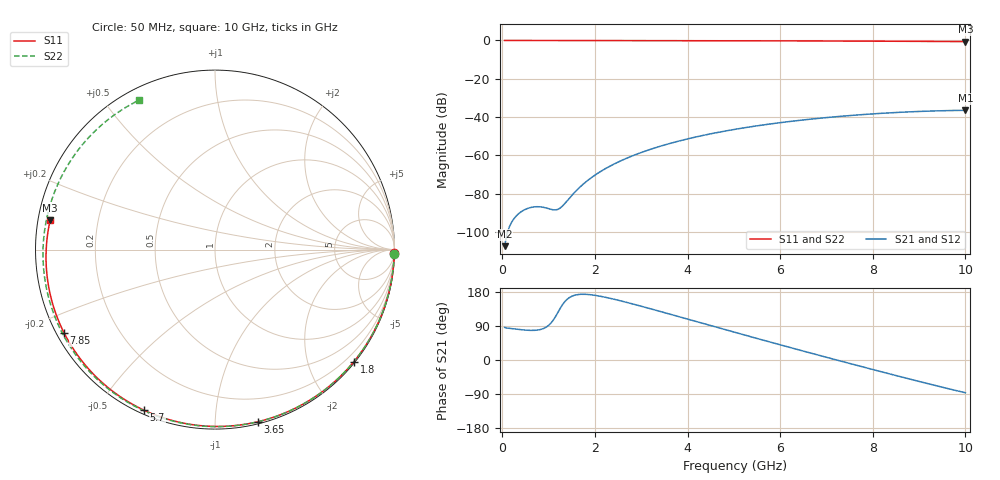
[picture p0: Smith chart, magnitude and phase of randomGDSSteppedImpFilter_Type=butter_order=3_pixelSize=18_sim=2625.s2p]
! freq	dB(S11)	phase(S11)	dB(S12)	phase(S12)
!  dB(S21)	phase(S21)	dB(S22)	phase(S22)
!S-par simulation data
#  GHz  S  DB  R 50
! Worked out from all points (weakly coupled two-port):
!   200 points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, 50 MHz to 10 GHz, reference 50 ohm
!   highest |S21| = -36.50 dB at 10 GHz (marker M1); lowest = -107.5 dB at 50 MHz (marker M2)
!   lowest |S11| = -0.6 dB at 10 GHz (marker M3), VSWR 28.79, Z = 1.75 + j4.4 ohm
!   |S11| at or under -10 dB: nowhere
!   |S22| runs from -0.6 to 0.0 dB; largest |S21 - S12| = 0
!   S11 on the Smith chart (normalised r, x): 50 MHz: open; 1.8 GHz: 0.03, -2.84; 3.65 GHz: 0.02, -1.28; 5.7 GHz: 0.02, -0.65; 7.85 GHz: 0.02, -0.26; 10 GHz: 0.04, +0.09
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0.05  -0.00 -1.1  -107.48 86.0  -107.48 86.0  -0.00 -1.3
0.75  -0.02 -16.4  -86.86 78.8  -86.86 78.8  -0.03 -20.2
1.5  -0.04 -32.5  -81.00 168.1  -81.00 168.1  -0.05 -40.0
1.55  -0.04 -33.6  -79.68 170.4  -79.68 170.4  -0.05 -41.3
1.75  -0.05 -37.8  -75.01 173.5  -75.01 173.5  -0.06 -46.4
1.8  -0.05 -38.8  -73.99 173.3  -73.99 173.3  -0.06 -47.7
2.1  -0.06 -45.1  -68.80 168.6  -68.80 168.6  -0.07 -55.4
2.45  -0.07 -52.3  -64.13 159.3  -64.13 159.3  -0.08 -64.1
2.9  -0.08 -61.4  -59.44 145.2  -59.44 145.2  -0.10 -75.2
3.4  -0.09 -71.3  -55.34 128.5  -55.34 128.5  -0.11 -87.1
3.65  -0.10 -76.1  -53.60 120.0  -53.60 120.0  -0.12 -93.0
4.35  -0.13 -89.4  -49.53 96.0  -49.53 96.0  -0.15 -109.1
5.05  -0.16 -102.2  -46.32 72.1  -46.32 72.1  -0.19 -124.8
5.7  -0.19 -113.8  -43.91 50.1  -43.91 50.1  -0.23 -139.2
6.2  -0.22 -122.6  -42.36 33.4  -42.36 33.4  -0.26 -150.2
6.7  -0.25 -131.2  -41.01 16.9  -41.01 16.9  -0.30 -161.3
7.3  -0.30 -141.6  -39.64 -2.6  -39.64 -2.6  -0.35 -174.9
7.85  -0.35 -151.1  -38.61 -20.4  -38.61 -20.4  -0.40 172.3
8.35  -0.40 -159.9  -37.84 -36.3  -37.84 -36.3  -0.45 160.3
9.15  -0.49 -174.2  -36.96 -61.2  -36.96 -61.2  -0.52 140.0
9.55  -0.54 178.5  -36.68 -73.3  -36.68 -73.3  -0.56 129.3
10  -0.60 169.9  -36.50 -86.5  -36.50 -86.5  -0.59 116.8
